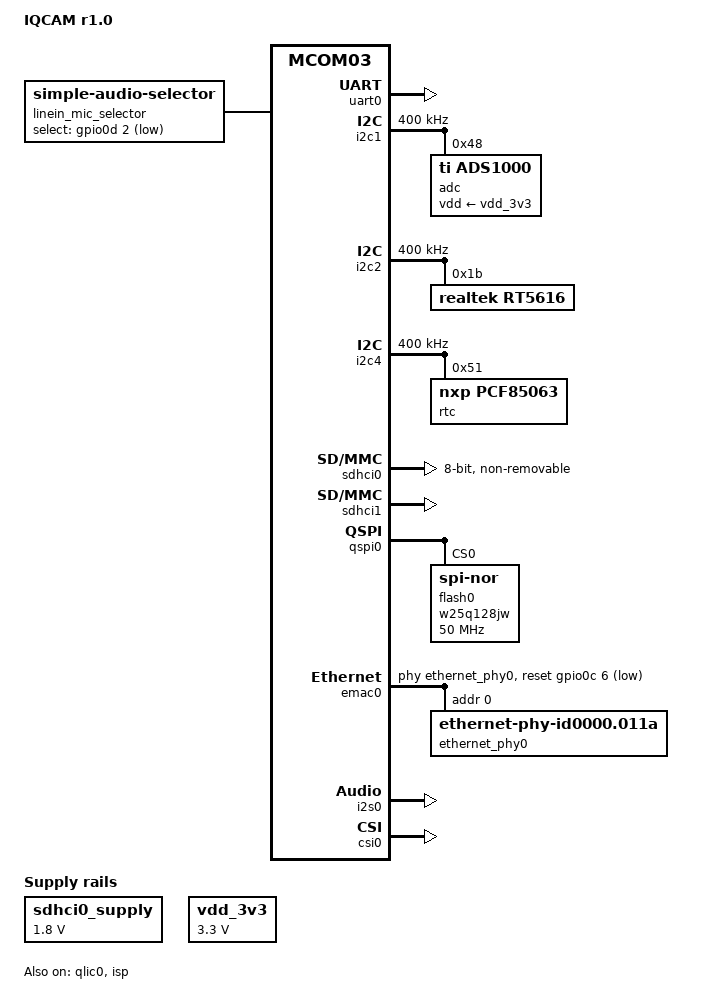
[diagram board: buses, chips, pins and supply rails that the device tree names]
// SPDX-License-Identifier: GPL-2.0+
/*
 * Copyright 2023 RnD Center "ELVEES", JSC
 */

/dts-v1/;

#include <dt-bindings/gpio/gpio.h>
#include <dt-bindings/input/input.h>

#include "mcom03.dtsi"

/ {
	model = "IQCAM r1.0";
	compatible = "elvees,iqcam-r1.0",
		     "elvees,iqcam",
		     "elvees,mcom03";

	/delete-node/ sdr-bus;

	chosen {
		stdout-path = "serial0:115200n8";
	};

	sdhci0_supply: regulator@0 {
		compatible = "regulator-fixed";
		regulator-name = "sdhci0-supply";
		regulator-min-microvolt = <1800000>;
		regulator-max-microvolt = <1800000>;
		regulator-always-on;
	};

	vdd_3v3: regulator@1 {
		compatible = "regulator-fixed";
		regulator-name = "vdd_3v3";
		regulator-min-microvolt = <3300000>;
		regulator-max-microvolt = <3300000>;
		regulator-always-on;
	};

	sound {
		compatible = "simple-audio-card";
		simple-audio-card,name = "IQCAM audio";
		simple-audio-card,format = "i2s";
		simple-audio-card,bitclock-master = <&dailink0_master>;
		simple-audio-card,frame-master = <&dailink0_master>;
		simple-audio-card,aux-devs = <&linein_mic_selector>;
		simple-audio-card,widgets =
			"Microphone", "Microphone Jack",
			"Line", "Line In Jack",
			"Line", "Line Out Jack";
		simple-audio-card,routing =
			"Microphone Jack", "Channel1 IN",
			"MIC1", "Microphone Jack",
			"Microphone Jack", "micbias1",
			"Line In Jack", "Channel2 IN",
			"MIC2", "Line In Jack",
			"Line Out Jack", "LOUTL",
			"Line Out Jack", "LOUTR";

		dailink0_master: simple-audio-card,cpu {
			sound-dai = <&i2s0>;
		};

		simple-audio-card,codec {
			sound-dai = <&rt5616>;
			system-clock-frequency = <12288000>;
		};
       };

	linein_mic_selector: audio-selector {
		compatible = "simple-audio-selector";
		select-gpios = <&gpio0d 2 GPIO_ACTIVE_LOW>;
	};
};

&gpio0a {
	gpio-line-names = "", "", "ALARM_IN1", "ALARM_IN2",
			  "", "", "", "GPIO_RESET";
};

&gpio0c {
	gpio-line-names = "P_Iris_nB", "P_Iris_A", "P_Iris_B", "CMOS_nRST",
			  "P_Iris_nA", "", "", "CdS_INPUT";
};

&gpio0d {
	gpio-line-names = "IR_A", "IR_nA", "", "", "", "", "", "";
};

&gpio1a {
	gpio-line-names = "", "", "", "", "", "", "", "ALARM_OUT1";
};

&gpio1c {
	gpio-line-names = "Focus_nB", "Focus_B", "Zoom_nA", "Zoom_A",
			  "Focus_nA", "Focus_A", "IR_M", "Zoom_nB";
};

&gpio1d {
	gpio-line-names = "", "", "Zoom_B", "", "", "", "", "";
};

&uart0 {
	status = "okay";
};

&hsperiph_pinctrl {
	pinctrl-0 = <&hsperiph_misc_default &emac_v18>;
};

&qlic0 {
	status = "okay";
};

&i2c1 {
	clock-frequency = <400000>;
	status = "okay";

	adc: adc@48 {
		compatible = "ti,ads1000";
		reg = <0x48>;
		vdd-supply = <&vdd_3v3>;
	};
};

&i2c2 {
	clock-frequency = <400000>;
	status = "okay";

	rt5616: audio-codec@1b {
		#sound-dai-cells = <0>;
		compatible = "realtek,rt5616";
		reg = <0x1b>;
	};

};

&i2c4 {
	clock-frequency = <400000>;
	status = "okay";

	rtc@51 {
		compatible = "nxp,pcf85063";
		reg = <0x51>;
	};
};

&sdhci0 {
	status = "okay";

	non-removable;
	bus-width = <8>;

	vqmmc-supply = <&sdhci0_supply>;
};

&sdhci1 {
	status = "okay";

	/* Disable 1.8V support
	 * Disable SDR50, SDR104 and DDR50 support
	 */
	sdhci-caps-mask = <0x7 0x4000000>;
	sdhci-caps = <0x0 0x0>;
};

&qspi0 {
	status = "okay";

	flash0: w25q128jw@0 {
		#address-cells = <1>;
		#size-cells = <1>;
		compatible = "jedec,spi-nor", "winbond,w25q128";
		reg = <0x0>;
		/* This is the highest frequency at which all commands are
		 * supported by the flash device.
		 */
		spi-max-frequency = <50000000>;
	};
};

&emac0 {
	status = "okay";

	phy-handle = <&ethernet_phy0>;

	reset-gpios = <&gpio0c 6 GPIO_ACTIVE_LOW>;

	ethernet_phy0: ethernet-phy@0 {
		compatible = "ethernet-phy-id0000.011a",
			     "ethernet-phy-ieee802.3-c22";
		reg = <0x0>;

		motorcomm,clk-out-frequency-hz = <0>;
		rx-internal-delay-ps = <1650>;
		tx-internal-delay-ps = <1650>;
		max-speed = <100>;
	};
};

&i2s0 {
	status = "okay";

	pinctrl-0 = <&i2s0_default_cfg &i2s0_mux_sdo0
		     &i2s0_mux_sdi0 &i2s0_mux_ext_clk>;

	assigned-clocks = <&lsperiph1_refmux_i2s>;
	assigned-clock-parents = <&i2s0_sclk_in_clk>;
};

&isp {
	status = "okay";
};

&csi0 {
	status = "okay";
};
